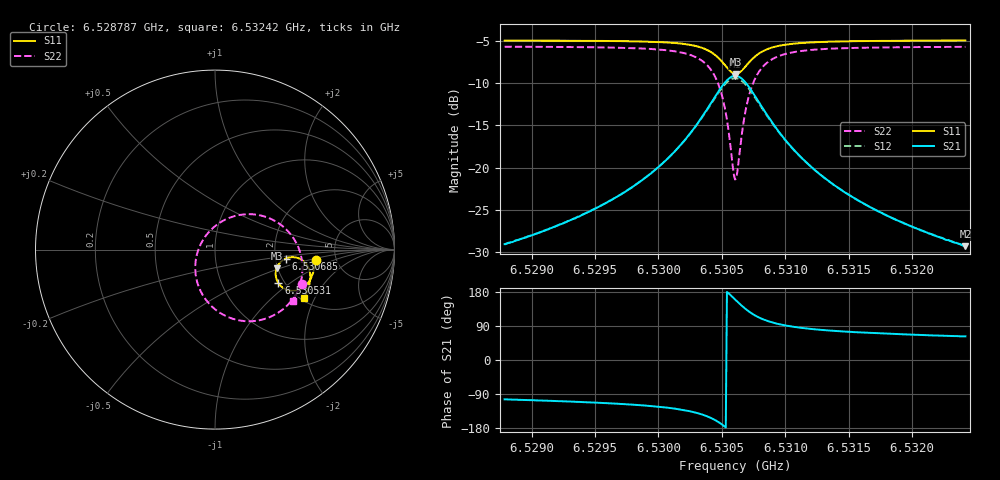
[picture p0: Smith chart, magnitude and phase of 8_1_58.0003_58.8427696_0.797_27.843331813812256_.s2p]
#  HZ  S  RI  R  50.00
! Rohde & Schwarz Vector Network Analyzer
! Rohde-Schwarz,ZNB20-2Port,1311601062101988,3.16
! Created: UTC 3/21/2024, 12:50:39 AM
! freq[Hz]  re:S11  im:S11  re:S21  im:S21  re:S12  im:S12  re:S22  im:S22
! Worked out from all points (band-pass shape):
!   401 points, 6.528787 GHz to 6.53242 GHz, reference 50 ohm
!   highest |S21| = -9.13 dB at 6.530603 GHz (marker M1); lowest = -29.3 dB at 6.53242 GHz (marker M2)
!   |S21| within 3 dB of the highest: 6.530424 GHz to 6.530787 GHz (363.3 kHz wide, 0.00556 % of centre)
!   lowest |S11| = -8.9 dB at 6.530612 GHz (marker M3), VSWR 2.12, Z = 98.6 - j23.5 ohm
!   |S11| at or under -10 dB: nowhere
!   |S22| runs from -21.4 to -5.7 dB; largest |S21 - S12| = 0.015
!   S11 on the Smith chart (normalised r, x): 6.528787 GHz: 3.48, -0.59; 6.530531 GHz: 1.85, -0.82; 6.530685 GHz: 2.27, -0.27; 6.53242 GHz: 2.11, -1.65
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6.528787e9  0.5613 -0.0574  -0.00843 -0.0343  -0.00924 -0.0342  0.4829 -0.1908
6.5293955e9  0.5519 -0.1105  -0.0187 -0.0491  -0.0198 -0.0487  0.4502 -0.2528
6.5297224e9  0.5415 -0.1432  -0.0314 -0.0636  -0.0332 -0.0629  0.4171 -0.2961
6.530004e9  0.5244 -0.177  -0.0561 -0.0848  -0.0585 -0.0831  0.3617 -0.345
6.530222e9  0.4942 -0.2095  -0.1035 -0.1088  -0.1067 -0.105  0.2662 -0.3892
6.5303764e9  0.4442 -0.2293  -0.1837 -0.1164  -0.1864 -0.1081  0.1192 -0.3912
6.5304672e9  0.3923 -0.2208  -0.2654 -0.0833  -0.2638 -0.0712  -0.0158 -0.3185
6.5305035e9  0.3686 -0.205  -0.3007 -0.0488  -0.2957 -0.0364  -0.0685 -0.253
6.5305308e9  0.3529 -0.1861  -0.3228 -0.0118  -0.3147 -9.38e-05  -0.0976 -0.1867
6.5305852e9  0.338 -0.1331  -0.3366 0.0853  -0.3234 0.092  -0.1 -0.0237
6.5306034e9  0.3407 -0.1134  -0.3282 0.1198  -0.3144 0.1239  -0.0795 0.0308
6.5306125e9  0.3436 -0.1039  -0.3214 0.1362  -0.3077 0.1391  -0.0653 0.0563
6.5306307e9  0.3521 -0.0861  -0.3036 0.1665  -0.2902 0.167  -0.0302 0.1025
6.5306852e9  0.3931 -0.0502  -0.2268 0.2261  -0.2176 0.2221  0.1068 0.1863
6.5307215e9  0.4235 -0.0422  -0.173 0.2385  -0.1668 0.234  0.1983 0.1974
6.5307578e9  0.45 -0.0436  -0.1268 0.236  -0.1227 0.2318  0.2757 0.1845
6.5308759e9  0.5027 -0.0732  -0.0381 0.1912  -0.0366 0.1893  0.4193 0.0881
6.531003e9  0.5234 -0.1072  -0.0026 0.145  -0.00144 0.1444  0.4712 -0.00506
6.5312119e9  0.531 -0.1477  0.0146 0.0989  0.0156 0.0987  0.4873 -0.1009
6.5314753e9  0.528 -0.1832  0.0185 0.0686  0.0195 0.0684  0.4802 -0.1699
6.5318204e9  0.5188 -0.2182  0.0183 0.048  0.0189 0.0478  0.4634 -0.225
6.5324199e9  0.4985 -0.2671  0.016 0.0305  0.0166 0.0302  0.4323 -0.2862
